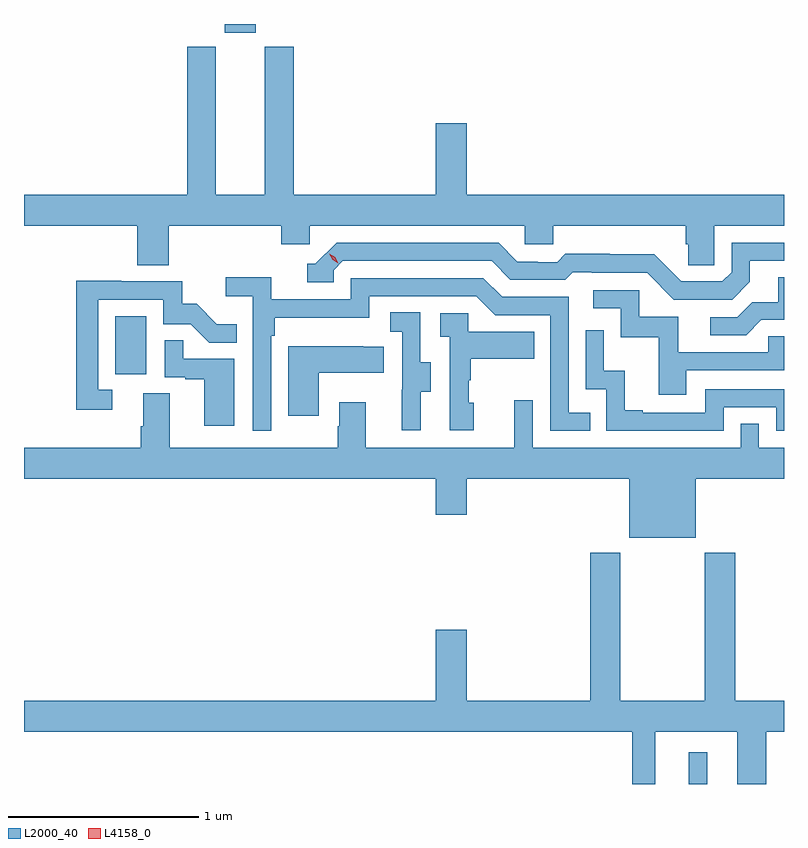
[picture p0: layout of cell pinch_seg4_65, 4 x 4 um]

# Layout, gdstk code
import gdstk
lib = gdstk.Library(unit=1e-6, precision=1e-09)
def R(c, l, rs):  # rectangles x0, y0, x1, y1
    for r in rs: c.add(gdstk.rectangle(r[:2], r[2:], *l))
def P(c, l, *ps):  # polygons
    for p in ps: c.add(gdstk.Polygon(p, *l))
L2000_40 = (2000, 40)
L4158_0 = (4158, 0)

pinch_seg4_65 = lib.new_cell('pinch_seg4_65')
R(pinch_seg4_65, L2000_40, [(1029.476,809.866,1029.574,810.034), (1026.458,812.022,1026.622,812.329), (1027.034,813.819,1027.198,813.866)])
P(pinch_seg4_65, L2000_40, [(1026.74,812.804),(1027.331,812.804),(1027.331,812.706),(1027.482,812.706),(1027.482,812.804),(1028.613,812.804),(1028.613,812.706),(1028.763,812.706),(1028.763,812.804),(1029.461,812.804),(1029.461,812.706),(1029.475,812.706),(1029.475,812.596),(1029.612,812.596),(1029.612,812.804),(1029.978,812.804),(1029.978,812.968),(1028.308,812.968),(1028.308,813.343),(1028.144,813.343),(1028.144,812.968),(1027.397,812.968),(1027.397,813.747),(1027.244,813.747),(1027.244,812.968),(1026.988,812.968),(1026.988,813.747),(1026.836,813.747),(1026.836,812.968),(1025.978,812.968),(1025.978,812.804),(1026.575,812.804),(1026.575,812.596),(1026.74,812.596)],
  [(1029.799,812.509),(1029.799,812.619),(1029.978,812.619),(1029.978,812.715),(1029.702,812.715),(1029.702,812.559),(1029.654,812.511),(1029.438,812.511),(1029.296,812.653),(1029.06,812.653),(1029.06,812.656),(1028.827,812.656),(1028.785,812.613),(1028.682,812.613),(1028.682,812.616),(1028.575,812.616),(1028.476,812.715),(1027.623,812.715),(1027.512,812.604),(1027.469,812.604),(1027.469,812.508),(1027.608,812.508),(1027.608,812.571),(1027.656,812.619),(1028.439,812.619),(1028.538,812.52),(1028.827,812.52),(1028.866,812.559),(1028.965,812.559),(1028.965,812.556),(1029.258,812.556),(1029.399,812.415),(1029.705,812.415)],
  [(1027.278,812.225),(1027.298,812.225),(1027.298,812.321),(1027.794,812.321),(1027.794,812.433),(1028.358,812.433),(1028.457,812.334),(1028.748,812.334),(1028.748,811.725),(1028.957,811.725),(1028.957,811.821),(1028.844,811.821),(1028.844,812.43),(1028.494,812.43),(1028.395,812.529),(1027.698,812.529),(1027.698,812.418),(1027.28,812.418),(1027.28,812.534),(1027.041,812.534),(1027.041,812.432),(1027.182,812.432),(1027.182,811.725),(1027.278,811.725)],
  [(1029.859,812.31),(1029.978,812.31),(1029.978,812.534),(1029.947,812.534),(1029.947,812.402),(1029.812,812.402),(1029.732,812.322),(1029.591,812.322),(1029.591,812.229),(1029.778,812.229)],
  [(1026.442,811.941),(1026.369,811.941),(1026.369,812.415),(1026.711,812.415),(1026.711,812.286),(1026.855,812.286),(1026.953,812.188),(1027.097,812.188),(1027.097,812.287),(1026.993,812.287),(1026.886,812.394),(1026.81,812.394),(1026.81,812.511),(1026.491,812.511),(1026.491,812.516),(1026.253,812.516),(1026.253,811.836),(1026.442,811.836)],
  [(1029.463,812.043),(1029.978,812.043),(1029.978,812.223),(1029.895,812.223),(1029.895,812.139),(1029.421,812.139),(1029.421,812.325),(1029.216,812.325),(1029.216,812.466),(1028.973,812.466),(1028.973,812.37),(1029.12,812.37),(1029.12,812.217),(1029.319,812.217),(1029.319,811.914),(1029.463,811.914)],
  [(1028.065,811.93),(1028.119,811.93),(1028.119,812.085),(1028.064,812.085),(1028.064,812.348),(1027.905,812.348),(1027.905,812.245),(1027.968,812.245),(1027.968,811.941),(1027.967,811.941),(1027.967,811.728),(1028.065,811.728)],
  [(1028.344,811.872),(1028.319,811.872),(1028.319,811.991),(1028.329,811.991),(1028.329,812.105),(1028.663,812.105),(1028.663,812.245),(1028.316,812.245),(1028.316,812.343),(1028.169,812.343),(1028.169,812.219),(1028.22,812.219),(1028.22,811.728),(1028.344,811.728)],
  [(1029.66,811.848),(1029.936,811.848),(1029.936,811.725),(1029.978,811.725),(1029.978,811.944),(1029.564,811.944),(1029.564,811.821),(1029.235,811.821),(1029.235,811.834),(1029.14,811.834),(1029.14,812.042),(1029.03,812.042),(1029.03,812.254),(1028.934,812.254),(1028.934,811.944),(1029.042,811.944),(1029.042,811.725),(1029.66,811.725)],
  [(1027.084,812.103),(1026.815,812.103),(1026.815,812.201),(1026.72,812.201),(1026.72,812.007),(1026.827,812.007),(1026.827,811.995),(1026.926,811.995),(1026.926,811.752),(1027.084,811.752)],
  [(1027.528,812.03),(1027.871,812.03),(1027.871,812.167),(1027.763,812.167),(1027.763,812.17),(1027.37,812.17),(1027.37,811.803),(1027.528,811.803)],
  [(1029.514,811.472),(1029.978,811.472),(1029.978,811.636),(1029.846,811.636),(1029.846,811.763),(1029.75,811.763),(1029.75,811.636),(1028.655,811.636),(1028.655,811.885),(1028.558,811.885),(1028.558,811.636),(1027.777,811.636),(1027.777,811.876),(1027.637,811.876),(1027.637,811.748),(1027.63,811.748),(1027.63,811.636),(1026.745,811.636),(1026.745,811.922),(1026.605,811.922),(1026.605,811.748),(1026.593,811.748),(1026.593,811.636),(1025.978,811.636),(1025.978,811.472),(1028.144,811.472),(1028.144,811.284),(1028.308,811.284),(1028.308,811.472),(1029.164,811.472),(1029.164,811.163),(1029.514,811.163)],
  [(1029.301,810.14),(1029.731,810.14),(1029.731,809.866),(1029.884,809.866),(1029.884,810.14),(1029.978,810.14),(1029.978,810.304),(1029.722,810.304),(1029.722,811.084),(1029.562,811.084),(1029.562,810.304),(1029.117,810.304),(1029.117,811.084),(1028.957,811.084),(1028.957,810.304),(1028.308,810.304),(1028.308,810.679),(1028.144,810.679),(1028.144,810.304),(1025.978,810.304),(1025.978,810.14),(1029.18,810.14),(1029.18,809.866),(1029.301,809.866)])
P(pinch_seg4_65, L4158_0, [(1027.633,812.606),(1027.602,812.625),(1027.585,812.657),(1027.585,812.657),(1027.585,812.657),(1027.616,812.638),(1027.633,812.606),(1027.633,812.606)])

lib.write_gds('pinch_seg4_65.gds')
